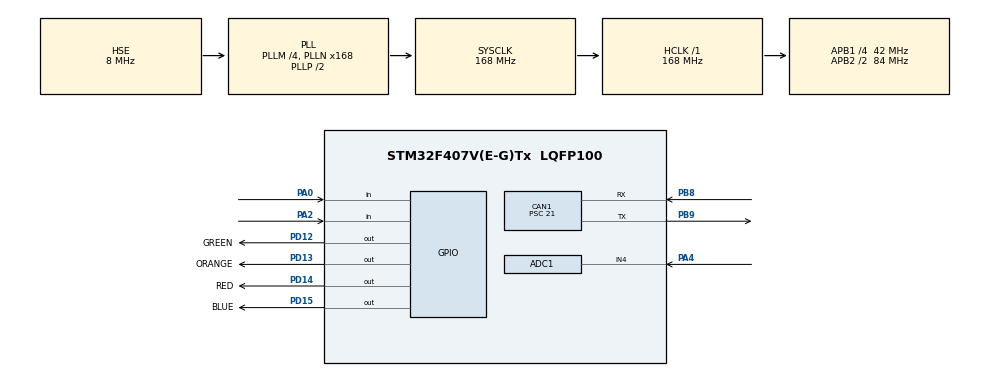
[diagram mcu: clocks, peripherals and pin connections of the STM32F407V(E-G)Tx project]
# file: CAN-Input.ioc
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ADC1.Channel-25\#ChannelRegularConversion=ADC_CHANNEL_4
ADC1.ClockPrescaler=ADC_CLOCK_SYNC_PCLK_DIV4
ADC1.ContinuousConvMode=DISABLE
ADC1.DMAContinuousRequests=DISABLE
ADC1.DataAlign=ADC_DATAALIGN_RIGHT
ADC1.DiscontinuousConvMode=DISABLE
ADC1.EOCSelection=ADC_EOC_SINGLE_CONV
ADC1.EnableAnalogWatchDog=false
ADC1.ExternalTrigConv=ADC_SOFTWARE_START
ADC1.ExternalTrigConvEdge=ADC_EXTERNALTRIGCONVEDGE_NONE
ADC1.InjNumberOfConversion=0
ADC1.NbrOfConversion=1
ADC1.NbrOfConversionFlag=1
ADC1.Rank-25\#ChannelRegularConversion=1
ADC1.Resolution=ADC_RESOLUTION_12B
ADC1.SamplingTime-25\#ChannelRegularConversion=ADC_SAMPLETIME_3CYCLES
ADC1.ScanConvMode=DISABLE
ADC1.master=1
CAN1.BS1=CAN_BS1_13TQ
CAN1.BS2=CAN_BS2_2TQ
CAN1.CalculateTimeBit=8000
CAN1.CalculateTimeQuantum=500.0
CAN1.Prescaler=21
Mcu.Family=STM32F4
Mcu.Name=STM32F407V(E-G)Tx
Mcu.Package=LQFP100
NVIC.ADC_IRQn=true\:0\:0\:false\:false\:true\:true
NVIC.CAN1_RX0_IRQn=true\:0\:0\:false\:false\:true\:true
NVIC.PriorityGroup=NVIC_PRIORITYGROUP_0
PA0-WKUP.Signal=GPIO_Input
PA2.Signal=GPIO_Input
PA4.Signal=ADCx_IN4
PB8.Mode=Master
PB8.Signal=CAN1_RX
PB9.Mode=Master
PB9.Signal=CAN1_TX
PD12.GPIO_Label=GREEN
PD12.Signal=GPIO_Output
PD13.GPIO_Label=ORANGE
PD13.Signal=GPIO_Output
PD14.GPIO_Label=RED
PD14.Signal=GPIO_Output
PD15.GPIO_Label=BLUE
PD15.Signal=GPIO_Output
PH0-OSC_IN.Mode=HSE-External-Oscillator
PH0-OSC_IN.Signal=RCC_OSC_IN
PH1-OSC_OUT.Mode=HSE-External-Oscillator
PH1-OSC_OUT.Signal=RCC_OSC_OUT
ProjectManager.HeapSize=0x200
ProjectManager.StackSize=0x400
ProjectManager.TargetToolchain=MDK-ARM V5
RCC.48MHZClocksFreq_Value=48000000
RCC.AHBFreq_Value=168000000
RCC.APB1CLKDivider=RCC_HCLK_DIV4
RCC.APB1Freq_Value=42000000
RCC.APB1TimFreq_Value=84000000
RCC.APB2CLKDivider=RCC_HCLK_DIV2
RCC.APB2Freq_Value=84000000
RCC.APB2TimFreq_Value=168000000
RCC.CortexFreq_Value=168000000
RCC.HCLKFreq_Value=168000000
RCC.HSE_VALUE=8000000
RCC.HSI_VALUE=16000000
RCC.LSE_VALUE=32768
RCC.PLLM=4
RCC.PLLN=168
RCC.PLLQ=7
RCC.PLLSourceVirtual=RCC_PLLSOURCE_HSE
RCC.SYSCLKFreq_VALUE=168000000
RCC.SYSCLKSource=RCC_SYSCLKSOURCE_PLLCLK
RCC.VCOOutputFreq_Value=336000000
SH.ADCx_IN4.0=ADC1_IN4,IN4
board=STM32F4DISCOVERY

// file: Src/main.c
/**
  ******************************************************************************
  * File Name          : main.c
  * Description        : Main program body
  ******************************************************************************
  ** This notice applies to any and all portions of this file
  * that are not between comment pairs USER CODE BEGIN and
  * USER CODE END. Other portions of this file, whether
  * inserted by the user or by software development tools
  * are owned by their respective copyright owners.
  *
  * COPYRIGHT(c) 2018 STMicroelectronics
  *
  * Redistribution and use in source and binary forms, with or without modification,
  * are permitted provided that the following conditions are met:
  *   1. Redistributions of source code must retain the above copyright notice,
  *      this list of conditions and the following disclaimer.
  *   2. Redistributions in binary form must reproduce the above copyright notice,
  *      this list of conditions and the following disclaimer in the documentation
  *      and/or other materials provided with the distribution.
  *   3. Neither the name of STMicroelectronics nor the names of its contributors
  *      may be used to endorse or promote products derived from this software
  *      without specific prior written permission.
  *
  * THIS SOFTWARE IS PROVIDED BY THE COPYRIGHT HOLDERS AND CONTRIBUTORS "AS IS"
  * AND ANY EXPRESS OR IMPLIED WARRANTIES, INCLUDING, BUT NOT LIMITED TO, THE
  * IMPLIED WARRANTIES OF MERCHANTABILITY AND FITNESS FOR A PARTICULAR PURPOSE ARE
  * DISCLAIMED. IN NO EVENT SHALL THE COPYRIGHT HOLDER OR CONTRIBUTORS BE LIABLE
  * FOR ANY DIRECT, INDIRECT, INCIDENTAL, SPECIAL, EXEMPLARY, OR CONSEQUENTIAL
  * DAMAGES (INCLUDING, BUT NOT LIMITED TO, PROCUREMENT OF SUBSTITUTE GOODS OR
  * SERVICES; LOSS OF USE, DATA, OR PROFITS; OR BUSINESS INTERRUPTION) HOWEVER
  * CAUSED AND ON ANY THEORY OF LIABILITY, WHETHER IN CONTRACT, STRICT LIABILITY,
  * OR TORT (INCLUDING NEGLIGENCE OR OTHERWISE) ARISING IN ANY WAY OUT OF THE USE
  * OF THIS SOFTWARE, EVEN IF ADVISED OF THE POSSIBILITY OF SUCH DAMAGE.
  *
  ******************************************************************************
  */
#include "main.h"
#include "stm32f4xx_hal.h"
#include "adc.h"
#include "can.h"
#include "gpio.h"

/* USER CODE BEGIN PV */
uint8_t can_message[8];
uint8_t can_rx_int = 0;
extern CAN_HandleTypeDef hcan1;
extern ADC_HandleTypeDef hadc1;
char *data;
volatile uint16_t buff=0;
int flag = 0;
/* Private variables ---------------------------------------------------------*/

/* USER CODE END PV */

void SystemClock_Config(void);

/* USER CODE BEGIN PFP */
void HAL_ADC_ConvCpltCallback(ADC_HandleTypeDef *hadc)
{
	buff=HAL_ADC_GetValue(&hadc1);
	if(flag == 1)
	{
		can_tx(buff);
		flag =0;
	}
	HAL_ADC_Stop_IT(&hadc1);

}
/* Private function prototypes -----------------------------------------------*/

/* USER CODE END PFP */

/* USER CODE BEGIN 0 */
void RxIntEnable(CAN_HandleTypeDef *CanHandle) {
	if(CanHandle->State == HAL_CAN_STATE_BUSY_TX)
	  CanHandle->State = HAL_CAN_STATE_BUSY_TX_RX0;
	else {
	  CanHandle->State = HAL_CAN_STATE_BUSY_RX0;

		/* Set CAN error code to none */
		CanHandle->ErrorCode = HAL_CAN_ERROR_NONE;

		/* Enable Error warning Interrupt */
		__HAL_CAN_ENABLE_IT(CanHandle, CAN_IT_EWG);

		/* Enable Error passive Interrupt */
		__HAL_CAN_ENABLE_IT(CanHandle, CAN_IT_EPV);

		/* Enable Bus-off Interrupt */
		__HAL_CAN_ENABLE_IT(CanHandle, CAN_IT_BOF);

		/* Enable Last error code Interrupt */
		__HAL_CAN_ENABLE_IT(CanHandle, CAN_IT_LEC);

		/* Enable Error Interrupt */
		__HAL_CAN_ENABLE_IT(CanHandle, CAN_IT_ERR);
	  }

	  // Enable FIFO 0 message pending Interrupt
	  __HAL_CAN_ENABLE_IT(CanHandle, CAN_IT_FMP0);
}

void HAL_CAN_RxCpltCallback(CAN_HandleTypeDef *CanHandle) {
	if(CanHandle->pRxMsg->StdId == 0x321 && CanHandle->pRxMsg->IDE == CAN_ID_STD && CanHandle->pRxMsg->DLC <= 8) {
		can_message[0] = CanHandle->pRxMsg->Data[0];
		can_message[1] = CanHandle->pRxMsg->Data[1];
		can_message[2] = CanHandle->pRxMsg->Data[2];
		can_message[3] = CanHandle->pRxMsg->Data[3];
		can_message[4] = CanHandle->pRxMsg->Data[4];
		can_message[5] = CanHandle->pRxMsg->Data[5];
		can_message[6] = CanHandle->pRxMsg->Data[6];
		can_message[7] = CanHandle->pRxMsg->Data[7];
		sprintf(data,"ID==>%x\tDLC==>[%x]\tDATA==>%x %x %x %x %x %x %x %x\n",CanHandle->pRxMsg->StdId,CanHandle->pRxMsg->IDE,
																								can_message[0],
																								can_message[1],
																								can_message[2],
																								can_message[3],
																								can_message[4],
																								can_message[5],
																								can_message[6],
																								can_message[7]);
		can_rx_int = 1;
	}

	RxIntEnable(CanHandle);
}
/* USER CODE END 0 */

int main(void)
{

  /* USER CODE BEGIN 1 */
	//int i=0;
	char *tmp;
  /* USER CODE END 1 */

  /* MCU Configuration----------------------------------------------------------*/

  /* Reset of all peripherals, Initializes the Flash interface and the Systick. */
  HAL_Init();

  /* Configure the system clock */
  SystemClock_Config();

  /* Initialize all configured peripherals */
  MX_GPIO_Init();
  MX_ADC1_Init();
	MX_CAN1_Init();
  /* USER CODE BEGIN 2 */
sprintf(tmp,"System Initialized!!!\n");
//while(HAL_GPIO_ReadPin(GPIOA,GPIO_PIN_0)==0)
//		HAL_GPIO_TogglePin(GPIOD,GPIO_PIN_14);
//	Blink_led(OFF);
//	while(1){
//		can_tx();
//		Blink_led(GREEN);
//		if(can_rx_int){
//			can_rx_int = 0;
//			i=0;
//			while(data[i]!=NULL)
//			//USART2_tx(data[i++]);
//			Blink_led(RED);
//		}
//	}
  /* USER CODE END 2 */

  /* Infinite loop */
  /* USER CODE BEGIN WHILE */
	RxIntEnable(&hcan1);
	while(HAL_GPIO_ReadPin(GPIOA,GPIO_PIN_0)==0)
		HAL_GPIO_WritePin(GPIOD,GPIO_PIN_12,GPIO_PIN_SET);
	HAL_GPIO_WritePin(GPIOD,GPIO_PIN_12,GPIO_PIN_RESET);
  while (1)
  {
  /* USER CODE END WHILE */

  /* USER CODE BEGIN 3 */

			HAL_GPIO_TogglePin(GPIOD,GPIO_PIN_12);	//PD12
			HAL_Delay(500);
			flag=1;
			HAL_ADC_Start_IT(&hadc1);

			/*CAN Transmit after Button Pressed Data, in ADC START*/

		/*if CAN data received*/
		if(can_rx_int){
			can_rx_int = 0;
			HAL_GPIO_TogglePin(GPIOD,GPIO_PIN_14);	//PD14
			HAL_Delay(500);
		}
  }
  /* USER CODE END 3 */

}

/** System Clock Configuration
*/
void SystemClock_Config(void)
{

  RCC_OscInitTypeDef RCC_OscInitStruct;
  RCC_ClkInitTypeDef RCC_ClkInitStruct;

    /**Configure the main internal regulator output voltage
    */
  __HAL_RCC_PWR_CLK_ENABLE();

  __HAL_PWR_VOLTAGESCALING_CONFIG(PWR_REGULATOR_VOLTAGE_SCALE1);

    /**Initializes the CPU, AHB and APB busses clocks
    */
  RCC_OscInitStruct.OscillatorType = RCC_OSCILLATORTYPE_HSE;
  RCC_OscInitStruct.HSEState = RCC_HSE_ON;
  RCC_OscInitStruct.PLL.PLLState = RCC_PLL_ON;
  RCC_OscInitStruct.PLL.PLLSource = RCC_PLLSOURCE_HSE;
  RCC_OscInitStruct.PLL.PLLM = 4;
  RCC_OscInitStruct.PLL.PLLN = 168;
  RCC_OscInitStruct.PLL.PLLP = RCC_PLLP_DIV2;
  RCC_OscInitStruct.PLL.PLLQ = 7;
  if (HAL_RCC_OscConfig(&RCC_OscInitStruct) != HAL_OK)
  {
    _Error_Handler(__FILE__, __LINE__);
  }

    /**Initializes the CPU, AHB and APB busses clocks
    */
  RCC_ClkInitStruct.ClockType = RCC_CLOCKTYPE_HCLK|RCC_CLOCKTYPE_SYSCLK
                              |RCC_CLOCKTYPE_PCLK1|RCC_CLOCKTYPE_PCLK2;
  RCC_ClkInitStruct.SYSCLKSource = RCC_SYSCLKSOURCE_PLLCLK;
  RCC_ClkInitStruct.AHBCLKDivider = RCC_SYSCLK_DIV1;
  RCC_ClkInitStruct.APB1CLKDivider = RCC_HCLK_DIV4;
  RCC_ClkInitStruct.APB2CLKDivider = RCC_HCLK_DIV2;

  if (HAL_RCC_ClockConfig(&RCC_ClkInitStruct, FLASH_LATENCY_5) != HAL_OK)
  {
    _Error_Handler(__FILE__, __LINE__);
  }

    /**Configure the Systick interrupt time
    */
  HAL_SYSTICK_Config(HAL_RCC_GetHCLKFreq()/1000);

    /**Configure the Systick
    */
  HAL_SYSTICK_CLKSourceConfig(SYSTICK_CLKSOURCE_HCLK);

  /* SysTick_IRQn interrupt configuration */
  HAL_NVIC_SetPriority(SysTick_IRQn, 0, 0);
}

void _Error_Handler(char * file, int line)
{
  while(1)
  {
  }
}

/************************ (C) COPYRIGHT STMicroelectronics *****END OF FILE****/
